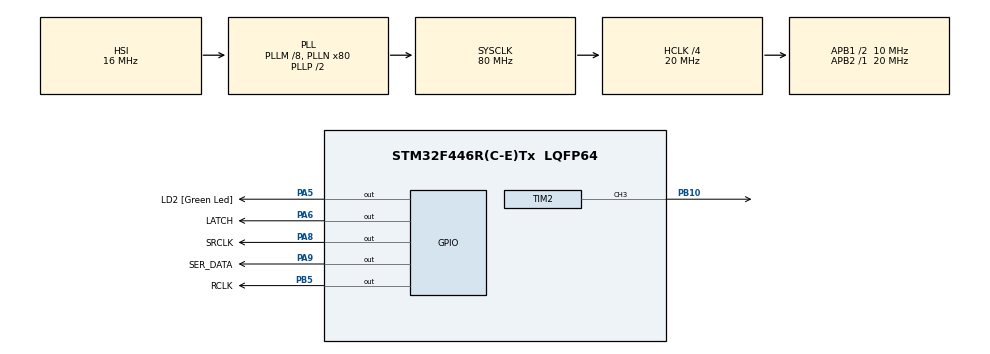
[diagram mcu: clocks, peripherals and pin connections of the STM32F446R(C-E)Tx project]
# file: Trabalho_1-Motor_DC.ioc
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Mcu.Family=STM32F4
PC15-OSC32_OUT.Mode=LSE-External-Oscillator
PH0-OSC_IN.Signal=RCC_OSC_IN
RCC.CortexFreq_Value=20000000
PA9.GPIO_Label=SER_DATA
PA14.GPIO_Label=TCK
PA6.GPIO_Label=LATCH
RCC.APB1CLKDivider=RCC_HCLK_DIV2
PC14-OSC32_IN.Signal=RCC_OSC32_IN
RCC.SYSCLKSource=RCC_SYSCLKSOURCE_PLLCLK
ProjectManager.StackSize=0x400
PA13.Signal=SYS_JTMS-SWDIO
PA8.GPIO_Label=SRCLK
ProjectManager.TargetToolchain=STM32CubeIDE
TIM2.Pulse-PWM\ Generation3\ CH3=32000
RCC.HCLKFreq_Value=20000000
RCC.APB2TimFreq_Value=20000000
PA9.Signal=GPIO_Output
RCC.USBFreq_Value=80000000
PC15-OSC32_OUT.Signal=RCC_OSC32_OUT
RCC.AHBFreq_Value=20000000
PH0-OSC_IN.Mode=HSE-External-Oscillator
PB10.Signal=S_TIM2_CH3
PA5.Signal=GPIO_Output
RCC.HSE_VALUE=8000000
board=NUCLEO-F446RE
RCC.VCOOutputFreq_Value=160000000
RCC.APB2Freq_Value=20000000
PC14-OSC32_IN.Mode=LSE-External-Oscillator
SH.S_TIM2_CH3.0=TIM2_CH3,PWM Generation3 CH3
PA14.Mode=Serial_Wire
TIM2.Channel-PWM\ Generation3\ CH3=TIM_CHANNEL_3
PH1-OSC_OUT.Signal=RCC_OSC_OUT
PA8.Signal=GPIO_Output
RCC.AHBCLKDivider=RCC_SYSCLK_DIV4
TIM2.Period=79
PA13.Mode=Serial_Wire
Mcu.Name=STM32F446R(C-E)Tx
PA13.GPIO_Label=TMS
RCC.FLatency-AdvancedSettings=FLASH_LATENCY_0
PH1-OSC_OUT.Mode=HSE-External-Oscillator
RCC.48MHZClocksFreq_Value=84000000
RCC.SYSCLKFreq_VALUE=80000000
Mcu.Package=LQFP64
PB5.Signal=GPIO_Output
TIM2.Prescaler=5000
PA6.Signal=GPIO_Output
PA5.GPIO_Label=LD2 [Green Led]
PA14.Signal=SYS_JTCK-SWCLK
ProjectManager.HeapSize=0x200
RCC.HSI_VALUE=16000000
NVIC.PriorityGroup=NVIC_PRIORITYGROUP_0
PB5.GPIO_Label=RCLK
RCC.PLLM=8
RCC.PLLN=80
RCC.APB1TimFreq_Value=20000000
RCC.APB1Freq_Value=10000000

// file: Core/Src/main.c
/* USER CODE BEGIN Header */
/**
  ******************************************************************************
  * @file           : main.c
  * @brief          : Main program body
  ******************************************************************************
  * @attention
  *
  * <h2><center>&copy; Copyright (c) 2023 STMicroelectronics.
  * All rights reserved.</center></h2>
  *
  * This software component is licensed by ST under BSD 3-Clause license,
  * the "License"; You may not use this file except in compliance with the
  * License. You may obtain a copy of the License at:
  *                        opensource.org/licenses/BSD-3-Clause
  *
  ******************************************************************************
  */
/* USER CODE END Header */
#include "main.h"

/* USER CODE BEGIN Includes */
#include <L293D.h>

/* USER CODE END Includes */

/* USER CODE BEGIN PTD */

#define bitMotor1A 2
#define bitMotor1B 3
#define bitMotor2A 1
#define bitMotor2B 4
#define bitMotor3A 5
#define bitMotor3B 7
#define bitMotor4A 0
#define bitMotor4B 6

/* USER CODE END PTD */

TIM_HandleTypeDef htim2;

/* USER CODE BEGIN PV */
// PB5: CLK
// PA6: LATCH
// PA9: DATA
/* USER CODE END PV */

void SystemClock_Config(void);
static void MX_GPIO_Init(void);
static void MX_TIM2_Init(void);

/* USER CODE BEGIN 0 */

// Structs do shield L293D
motor_dc motorTeste;
HC595 hc595;

/* USER CODE END 0 */

int main(void)
{

  /* MCU Configuration--------------------------------------------------------*/

  /* Reset of all peripherals, Initializes the Flash interface and the Systick. */
  HAL_Init();

  /* Configure the system clock */
  SystemClock_Config();

  /* Initialize all configured peripherals */
  MX_GPIO_Init();
  MX_TIM2_Init();
  /* USER CODE BEGIN 2 */

  configHC595(&hc595, SRCLK_GPIO_Port, SRCLK_Pin, RCLK_GPIO_Port, RCLK_Pin, SER_DATA_GPIO_Port, SER_DATA_Pin);
  configMotor(&motorTeste, htim2, TIM_CHANNEL_3);
  changeMotorOrientation(&hc595, 32);

  HAL_TIM_PWM_Init(&htim2);

  uint8_t velocidade_motor = 0;

  /* USER CODE END 2 */

  /* Infinite loop */
  while (1)
  {

    /* USER CODE BEGIN 3 */

	  HAL_GPIO_TogglePin(LD2_GPIO_Port, LD2_Pin);
	  if(velocidade_motor >= 100)
	  {
		  velocidade_motor = 0;
	  }
	  velocidade_motor += 20;
	  changeMotorSpeed(&motorTeste, velocidade_motor);
	  HAL_Delay(1000);

  }
  /* USER CODE END 3 */
}

void SystemClock_Config(void)
{
  RCC_OscInitTypeDef RCC_OscInitStruct = {0};
  RCC_ClkInitTypeDef RCC_ClkInitStruct = {0};

  /** Configure the main internal regulator output voltage
  */
  __HAL_RCC_PWR_CLK_ENABLE();
  __HAL_PWR_VOLTAGESCALING_CONFIG(PWR_REGULATOR_VOLTAGE_SCALE3);
  /** Initializes the RCC Oscillators according to the specified parameters
  * in the RCC_OscInitTypeDef structure.
  */
  RCC_OscInitStruct.OscillatorType = RCC_OSCILLATORTYPE_HSI;
  RCC_OscInitStruct.HSIState = RCC_HSI_ON;
  RCC_OscInitStruct.HSICalibrationValue = RCC_HSICALIBRATION_DEFAULT;
  RCC_OscInitStruct.PLL.PLLState = RCC_PLL_ON;
  RCC_OscInitStruct.PLL.PLLSource = RCC_PLLSOURCE_HSI;
  RCC_OscInitStruct.PLL.PLLM = 8;
  RCC_OscInitStruct.PLL.PLLN = 80;
  RCC_OscInitStruct.PLL.PLLP = RCC_PLLP_DIV2;
  RCC_OscInitStruct.PLL.PLLQ = 2;
  RCC_OscInitStruct.PLL.PLLR = 2;
  if (HAL_RCC_OscConfig(&RCC_OscInitStruct) != HAL_OK)
  {
    Error_Handler();
  }
  /** Initializes the CPU, AHB and APB buses clocks
  */
  RCC_ClkInitStruct.ClockType = RCC_CLOCKTYPE_HCLK|RCC_CLOCKTYPE_SYSCLK
                              |RCC_CLOCKTYPE_PCLK1|RCC_CLOCKTYPE_PCLK2;
  RCC_ClkInitStruct.SYSCLKSource = RCC_SYSCLKSOURCE_PLLCLK;
  RCC_ClkInitStruct.AHBCLKDivider = RCC_SYSCLK_DIV4;
  RCC_ClkInitStruct.APB1CLKDivider = RCC_HCLK_DIV2;
  RCC_ClkInitStruct.APB2CLKDivider = RCC_HCLK_DIV1;

  if (HAL_RCC_ClockConfig(&RCC_ClkInitStruct, FLASH_LATENCY_0) != HAL_OK)
  {
    Error_Handler();
  }
}

static void MX_TIM2_Init(void)
{

  TIM_MasterConfigTypeDef sMasterConfig = {0};
  TIM_OC_InitTypeDef sConfigOC = {0};

  htim2.Instance = TIM2;
  htim2.Init.Prescaler = 5000;
  htim2.Init.CounterMode = TIM_COUNTERMODE_UP;
  htim2.Init.Period = 79;
  htim2.Init.ClockDivision = TIM_CLOCKDIVISION_DIV1;
  htim2.Init.AutoReloadPreload = TIM_AUTORELOAD_PRELOAD_DISABLE;
  if (HAL_TIM_PWM_Init(&htim2) != HAL_OK)
  {
    Error_Handler();
  }
  sMasterConfig.MasterOutputTrigger = TIM_TRGO_RESET;
  sMasterConfig.MasterSlaveMode = TIM_MASTERSLAVEMODE_DISABLE;
  if (HAL_TIMEx_MasterConfigSynchronization(&htim2, &sMasterConfig) != HAL_OK)
  {
    Error_Handler();
  }
  sConfigOC.OCMode = TIM_OCMODE_PWM1;
  sConfigOC.Pulse = 32000;
  sConfigOC.OCPolarity = TIM_OCPOLARITY_HIGH;
  sConfigOC.OCFastMode = TIM_OCFAST_DISABLE;
  if (HAL_TIM_PWM_ConfigChannel(&htim2, &sConfigOC, TIM_CHANNEL_3) != HAL_OK)
  {
    Error_Handler();
  }
  HAL_TIM_MspPostInit(&htim2);

}

static void MX_GPIO_Init(void)
{
  GPIO_InitTypeDef GPIO_InitStruct = {0};

  /* GPIO Ports Clock Enable */
  __HAL_RCC_GPIOC_CLK_ENABLE();
  __HAL_RCC_GPIOH_CLK_ENABLE();
  __HAL_RCC_GPIOA_CLK_ENABLE();
  __HAL_RCC_GPIOB_CLK_ENABLE();

  /*Configure GPIO pin Output Level */
  HAL_GPIO_WritePin(GPIOA, LD2_Pin|LATCH_Pin|SRCLK_Pin|SER_DATA_Pin, GPIO_PIN_RESET);

  /*Configure GPIO pin Output Level */
  HAL_GPIO_WritePin(RCLK_GPIO_Port, RCLK_Pin, GPIO_PIN_RESET);

  /*Configure GPIO pins : LD2_Pin LATCH_Pin SRCLK_Pin SER_DATA_Pin */
  GPIO_InitStruct.Pin = LD2_Pin|LATCH_Pin|SRCLK_Pin|SER_DATA_Pin;
  GPIO_InitStruct.Mode = GPIO_MODE_OUTPUT_PP;
  GPIO_InitStruct.Pull = GPIO_NOPULL;
  GPIO_InitStruct.Speed = GPIO_SPEED_FREQ_LOW;
  HAL_GPIO_Init(GPIOA, &GPIO_InitStruct);

  /*Configure GPIO pin : RCLK_Pin */
  GPIO_InitStruct.Pin = RCLK_Pin;
  GPIO_InitStruct.Mode = GPIO_MODE_OUTPUT_PP;
  GPIO_InitStruct.Pull = GPIO_NOPULL;
  GPIO_InitStruct.Speed = GPIO_SPEED_FREQ_LOW;
  HAL_GPIO_Init(RCLK_GPIO_Port, &GPIO_InitStruct);

}

void Error_Handler(void)
{
  __disable_irq();
  while (1)
  {
  }
}

/************************ (C) COPYRIGHT STMicroelectronics *****END OF FILE****/
